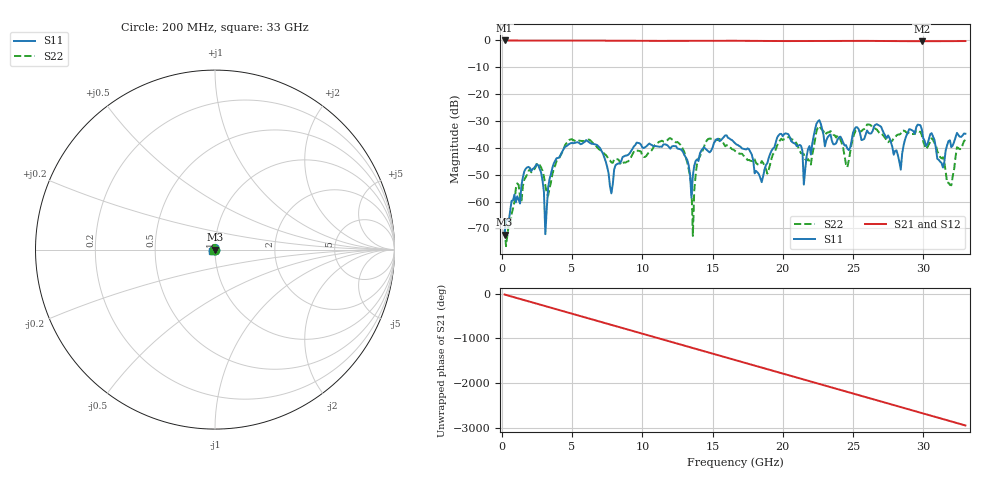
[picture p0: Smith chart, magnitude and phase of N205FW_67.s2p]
# GHZ S RI R 50
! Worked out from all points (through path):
!   329 points, 200 MHz to 33 GHz, reference 50 ohm
!   highest |S21| = -0.02 dB at 200 MHz (marker M1); lowest = -0.3 dB at 29.9 GHz (marker M2)
!   group delay of S21, straight-line fit = 248 ps
!   lowest |S11| = -72.3 dB at 200 MHz (marker M3), VSWR 1.00, Z = 50 + j0.015 ohm
!   |S11| at or under -10 dB: start of sweep to end of sweep
!   |S22| runs from -76.6 to -31.3 dB; largest |S21 - S12| = 0.0022
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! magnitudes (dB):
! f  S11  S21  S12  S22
! 200 MHz  -72.3  0.0  0.0  -70.5
! 2.5 GHz  -46.0  -0.1  -0.1  -45.7
! 3.1 GHz  -72.1  -0.1  -0.1  -53.9
! 3.7 GHz  -45.8  -0.1  -0.1  -48.0
! 5.7 GHz  -38.5  -0.1  -0.1  -37.4
! 7.8 GHz  -56.9  -0.1  -0.1  -45.4
! 11.2 GHz  -39.6  -0.2  -0.2  -37.7
! 13 GHz  -42.7  -0.2  -0.2  -41.7
! 13.5 GHz  -58.5  -0.2  -0.2  -54.0
! 13.6 GHz  -50.3  -0.2  -0.2  -72.7
! 13.9 GHz  -44.3  -0.1  -0.1  -45.6
! 14.5 GHz  -40.3  -0.1  -0.1  -38.0
! 16.6 GHz  -38.3  -0.1  -0.1  -41.1
! 18.5 GHz  -52.8  -0.2  -0.2  -44.9
! 20.4 GHz  -34.9  -0.2  -0.2  -35.9
! 21.5 GHz  -53.7  -0.2  -0.2  -42.3
! 22.1 GHz  -38.4  -0.2  -0.2  -42.4
! 27.6 GHz  -36.4  -0.2  -0.2  -37.4
! 28.4 GHz  -48.1  -0.3  -0.3  -34.7
! 29.9 GHz  -33.2  -0.3  -0.3  -35.3
! 32 GHz  -39.7  -0.3  -0.3  -53.9
! 33 GHz  -34.7  -0.2  -0.2  -37.0
